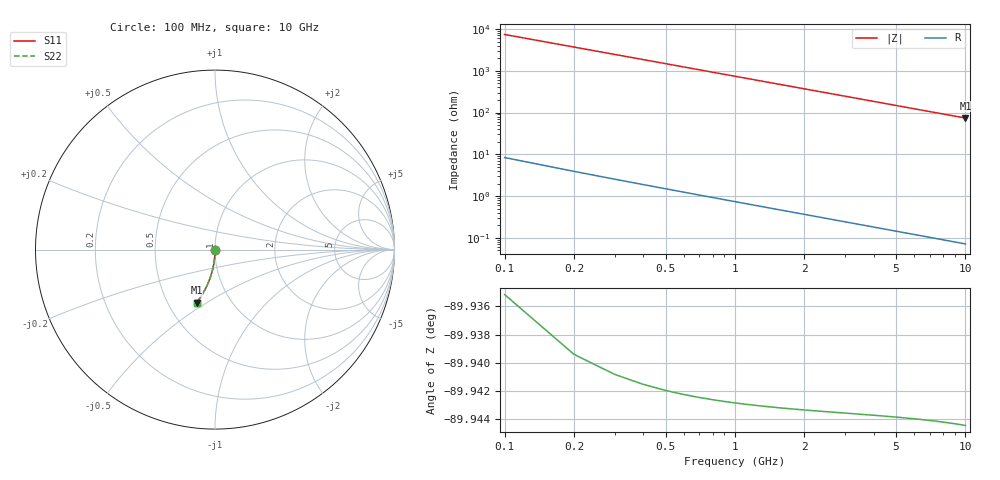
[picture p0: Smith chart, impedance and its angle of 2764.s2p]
# Hz S RI R 50.00
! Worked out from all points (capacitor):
!   100 points, 100 MHz to 10 GHz, reference 50 ohm
!   read as one part in shunt: C = 215 fF near 100 MHz
!   lowest |Z| = 74 ohm at 10 GHz (marker M1)
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1e8  4.09e-05 -0.00329  0.9999 -0.00347  0.9999 -0.00347  4.09e-05 -0.00329
2e8  3.78e-06 -0.00658  0.9999 -0.00693  0.9999 -0.00693  3.78e-06 -0.00658
3e8  -5.62e-05 -0.00986  0.9998 -0.0104  0.9998 -0.0104  -5.62e-05 -0.00986
4e8  -0.000139 -0.0131  0.9997 -0.0139  0.9997 -0.0139  -0.000139 -0.0131
5e8  -0.000245 -0.0164  0.9996 -0.0173  0.9996 -0.0173  -0.000245 -0.0164
6e8  -0.000373 -0.0197  0.9995 -0.0208  0.9995 -0.0208  -0.000373 -0.0197
7e8  -0.000524 -0.023  0.9994 -0.0242  0.9994 -0.0242  -0.000524 -0.023
8e8  -0.000698 -0.0263  0.9992 -0.0277  0.9992 -0.0277  -0.000698 -0.0263
9e8  -0.000895 -0.0296  0.999 -0.0312  0.999 -0.0312  -0.000895 -0.0296
1.1e9  -0.00136 -0.0361  0.9985 -0.0381  0.9985 -0.0381  -0.00136 -0.0361
1.4e9  -0.00222 -0.0459  0.9977 -0.0484  0.9977 -0.0484  -0.00222 -0.0459
1.8e9  -0.00368 -0.059  0.9962 -0.0622  0.9962 -0.0622  -0.00368 -0.059
2.1e9  -0.00501 -0.0687  0.9949 -0.0724  0.9949 -0.0724  -0.00501 -0.0687
2.5e9  -0.0071 -0.0816  0.9928 -0.0861  0.9928 -0.0861  -0.0071 -0.0816
2.9e9  -0.00954 -0.0944  0.9903 -0.0996  0.9903 -0.0996  -0.00954 -0.0944
3.4e9  -0.0131 -0.1103  0.9868 -0.1164  0.9868 -0.1164  -0.0131 -0.1103
4.2e9  -0.0198 -0.1354  0.98 -0.1429  0.98 -0.1429  -0.0198 -0.1354
5.1e9  -0.0289 -0.1628  0.9709 -0.1719  0.9709 -0.1719  -0.0289 -0.1628
5.9e9  -0.0384 -0.1866  0.9614 -0.1971  0.9614 -0.1971  -0.0384 -0.1866
6.7e9  -0.049 -0.2095  0.9508 -0.2215  0.9508 -0.2215  -0.049 -0.2095
8.4e9  -0.0749 -0.2555  0.9248 -0.2705  0.9248 -0.2705  -0.0749 -0.2555
1e10  -0.1031 -0.2948  0.8966 -0.3127  0.8966 -0.3127  -0.1031 -0.2948
